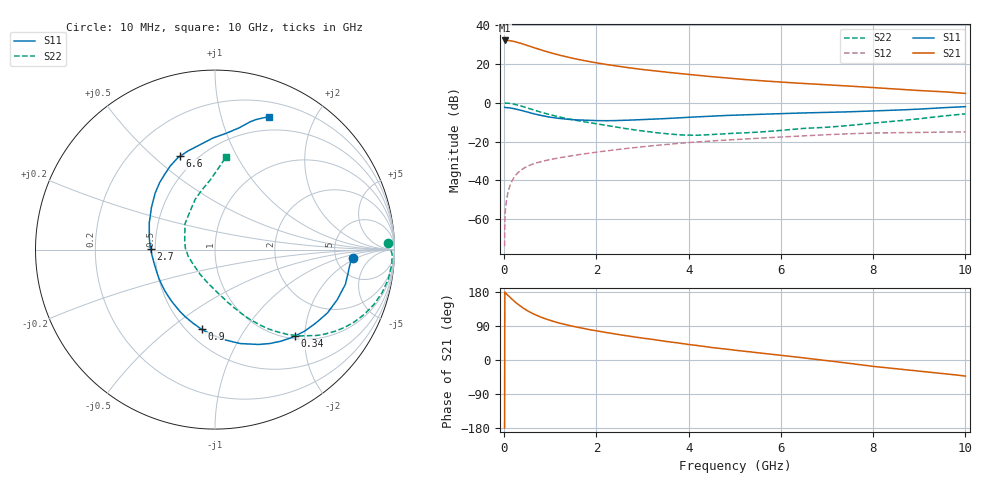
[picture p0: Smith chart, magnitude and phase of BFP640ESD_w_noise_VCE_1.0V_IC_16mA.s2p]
! Infineon Technologies  Discrete & RF Semiconductors
! BFP640ESD
! VCE =  1.0 V,  IC =  16 mA
! Common Emitter S-Parameters:  Jan 2016
# GHz  S  MA  R  50
!  f  S11  S21  S12  S22
! GHz  MAG  ANG  MAG  ANG  MAG  ANG  MAG  ANG
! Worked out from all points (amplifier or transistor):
!   233 points, 10 MHz to 10 GHz, reference 50 ohm
!   highest |S21| = 32.2 dB at 20 MHz (marker M1)
!   |S21| within 3 dB of that: start of sweep to 555.6 MHz
!   unconditionally stable (mu >= 1): start of sweep to 11.67 MHz; 3.328 GHz to 9.19 GHz
!   at 200 MHz: K = 0.16, MSG = 35.4 dB, |S12| = -39.0 dB
!   at 1.74 GHz: K = 0.84, MSG = 24.1 dB, |S12| = -26.3 dB
!   at 10 GHz: K = 0.92, MSG = 9.9 dB, |S12| = -15.0 dB
!   lowest NFmin = 0.81 dB at 450 MHz
!   S11 on the Smith chart (normalised r, x): 10 MHz: 7.38, -1.72; 340 MHz: 1.05, -1.78; 900 MHz: 0.59, -0.66; 2.7 GHz: 0.47, +0.01; 6.6 GHz: 0.41, +0.61; 10 GHz: 0.35, +1.43
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0.01  0.7724 -3.5  40.78 -179.4  0.0002 36.0  0.9673 2.3
0.02  0.7617 -3.4  40.96 178.4  0.0013 101.0  0.9872 -1.4
0.05  0.7552 -7.6  40.94 174.2  0.003 89.2  0.9884 -4.7
0.1  0.7518 -14.9  40.83 168.6  0.0058 82.3  0.9798 -9.6
0.185  0.7233 -27.1  39.29 158.8  0.0104 76.6  0.9436 -17.6
0.26  0.6906 -37.3  37.35 150.8  0.014 72.3  0.9011 -24.1
0.34  0.6553 -47.4  35.19 143.3  0.0174 68.1  0.8489 -30.2
0.45  0.6052 -59.9  31.97 134.1  0.0214 63.6  0.7748 -37.3
0.6  0.5418 -75.0  27.84 123.6  0.0258 59.1  0.6787 -45.1
0.7  0.505 -84.0  25.45 117.9  0.0283 57.1  0.6242 -49.3
0.9  0.4502 -99.6  21.47 108.4  0.0326 54.4  0.5332 -56.0
1.2  0.397 -119.2  17.1 97.3  0.0383 52.5  0.4328 -63.6
1.4  0.3755 -130.2  14.96 91.3  0.0419 51.7  0.3841 -67.7
1.68  0.3582 -143.4  12.73 84.1  0.0472 50.9  0.3334 -72.5
2.2  0.3473 -164.0  9.878 72.7  0.0574 49.0  0.2644 -81.9
2.7  0.3588 179.1  8.101 63.2  0.0675 46.4  0.2117 -94.1
3.4  0.3889 160.3  6.441 51.1  0.0821 41.6  0.1655 -116.5
5.1  0.4876 128.5  4.119 24.6  0.115 27.3  0.1667 174.3
6.6  0.5548 110.6  3.119 4.0  0.1433 14.0  0.2226 137.7
6.8  0.5617 107.9  3.023 1.2  0.1471 12.0  0.2286 134.0
8.4  0.6448 85.7  2.306 -22.0  0.169 -5.8  0.3318 104.0
10  0.8 67.9  1.759 -42.4  0.1785 -20.6  0.5204 83.1
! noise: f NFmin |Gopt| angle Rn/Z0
0.45  0.81  0.03  -4  0.09
0.9  0.83  0.01  -11  0.09
1.9  0.84  0.01  -88  0.12
2.4  0.85  0.03  -106  0.11
5.5  1.11  0.34  -116  0.13
10  1.73  0.58  -77  0.67
